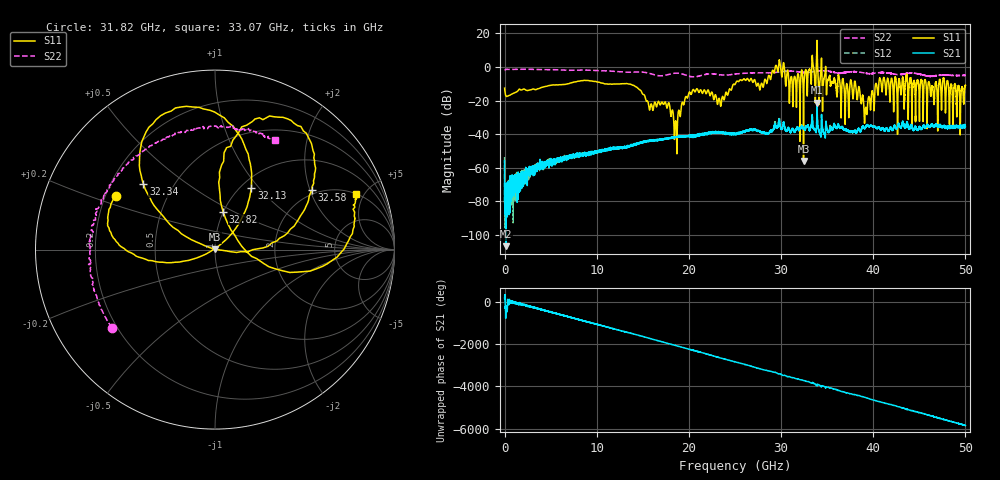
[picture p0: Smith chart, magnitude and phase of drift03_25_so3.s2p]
!Created with skrf (http://scikit-rf.org).
# Hz S RI R 50.0
!freq ReS11 ImS11 ReS21 ImS21 ReS12 ImS12 ReS22 ImS22
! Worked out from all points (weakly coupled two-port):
!   10001 points, 300 kHz to 50 GHz, reference 50 ohm
!   highest |S21| = -21.23 dB at 33.9 GHz (marker M1); lowest = -106.8 dB at 140.3 MHz (marker M2)
!   lowest |S11| = -56.0 dB at 32.44 GHz (marker M3), VSWR 1.00, Z = 50 + j0.156 ohm
!   |S11| at or under -10 dB: start of sweep to 6.951 GHz; 13.32 GHz to 25.05 GHz (11.72 GHz wide, 61.1 % of centre); 38.08 GHz to 40.26 GHz (2.186 GHz wide, 5.58 % of centre) (the widest 3 of 64)
!   |S22| runs from -5.9 to -1.3 dB; largest |S21 - S12| = 0.0076
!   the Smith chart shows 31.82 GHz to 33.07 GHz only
!   S11 on the Smith chart (normalised r, x): 31.82 GHz: 0.24, +0.24; 32.13 GHz: 1.11, +0.91; 32.34 GHz: 0.34, +0.35; 32.58 GHz: 1.86, +2.08; 32.82 GHz: 1.00, +0.44; 33.07 GHz: 1.99, +4.38
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300000  -0.211 -0.0979  -0.00126 0.00096  -0.000358 0.00203  -0.7643 -0.186
1.402992e8  -0.1219 0.06  4.57e-06 -3.3e-07  -0.000105 -2.2e-05  -0.814 0.2232
1.535291e9  0.2047 0.0435  -6.52e-05 -0.000432  -4.67e-05 -0.000437  0.8488 0.0774
3.160281e9  -0.2185 -0.00852  0.000249 0.000774  0.000412 0.00102  -0.8447 -0.0248
4.665272e9  0.2634 0.0612  6.98e-05 -0.00143  6.57e-06 -0.00144  0.8183 0.1424
8.33525e9  0.2839 -0.2676  -0.00216 -0.00101  -0.00241 -0.00101  0.6017 -0.5357
9.585242e9  -0.3715 -0.0409  0.00154 0.00239  0.00149 0.00238  -0.7866 -0.0799
1.123523e10  0.3052 0.0296  -0.00233 -0.00257  -0.00219 -0.00275  0.7564 0.0353
1.66702e10  0.0539 0.0758  0.00446 -0.00497  0.00461 -0.00476  -0.3572 0.4189
2.500015e10  -0.2972 -0.048  0.00809 0.00689  0.0076 0.00689  -0.1856 -0.581
3.050512e10  0.2583 -0.0848  -0.00281 0.0129  -0.00273 0.0125  0.742 -0.0564
3.181511e10  -0.5502 0.3002  0.0123 -0.0106  0.012 -0.00941  -0.5757 -0.4348
3.212511e10  0.2031 0.3449  0.000209 -0.015  -0.000545 -0.0152  -0.7017 0.00657
3.233511e10  -0.3985 0.3638  -0.00422 -0.0146  -0.00407 -0.0148  -0.6119 0.3024
3.243511e10  0.000224 0.00156  -0.00882 -0.012  -0.009 -0.0125  -0.5306 0.4353
3.25751e10  0.5416 0.3331  -0.00967 -0.00955  -0.00987 -0.00936  -0.3653 0.5725
3.28201e10  0.0454 0.2112  -0.0164 -0.00259  -0.0165 -0.00222  -0.0181 0.6881
3.30701e10  0.7875 0.3115  -0.0123 0.00332  -0.0131 0.0034  0.3331 0.6098
3.33351e10  0.4403 -0.9859  -0.00464 0.0259  -0.00635 0.0241  0.614 0.366
3.38951e10  -0.9049 -6.083  0.0865 0.00691  0.08 0.0057  0.6829 -0.3204
4.167005e10  -0.2156 0.2839  -0.0117 -0.00391  -0.0115 -0.00512  -0.6518 -0.0558
5e10  -0.1467 -0.2441  0.000833 -0.0167  0.000565 -0.016  0.4658 -0.3187
